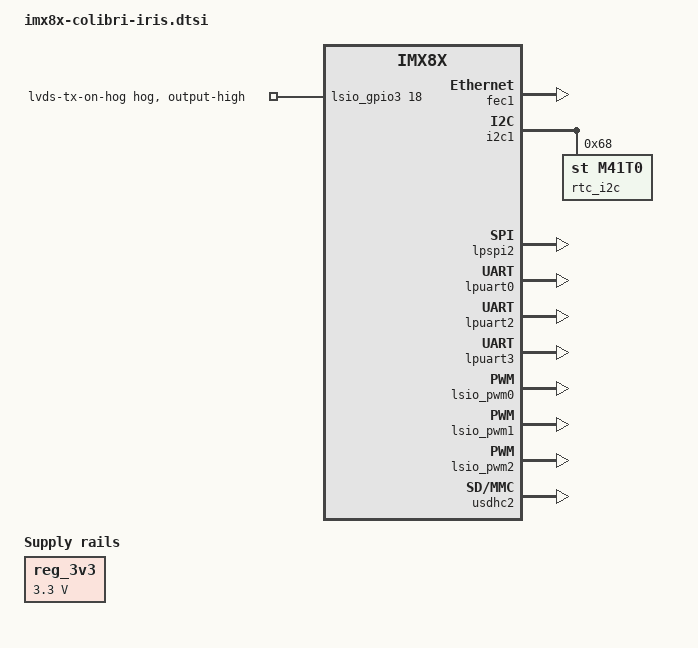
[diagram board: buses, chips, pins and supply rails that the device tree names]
// SPDX-License-Identifier: GPL-2.0-or-later OR MIT
/*
 * Copyright 2018-2021 Toradex
 */

/ {
	aliases {
		rtc0 = &rtc_i2c;
		rtc1 = &rtc;
	};

	reg_3v3: regulator-3v3 {
		compatible = "regulator-fixed";
		regulator-max-microvolt = <3300000>;
		regulator-min-microvolt = <3300000>;
		regulator-name = "3.3V";
	};
};

&colibri_gpio_keys {
	status = "okay";
};

/* Colibri FastEthernet */
&fec1 {
	status = "okay";
};

/* Colibri I2C */
&i2c1 {
	status = "okay";

	/* M41T0M6 real time clock on carrier board */
	rtc_i2c: rtc@68 {
		compatible = "st,m41t0";
		reg = <0x68>;
	};
};

&iomuxc {
	pinctrl-names = "default";
	pinctrl-0 = <&pinctrl_gpio_iris>;

	pinctrl_gpio_iris: gpioirisgrp {
		fsl,pins = <IMX8QXP_QSPI0B_DATA3_LSIO_GPIO3_IO21	0x20>,		/* SODIMM  98 */
			   <IMX8QXP_USB_SS3_TC1_LSIO_GPIO4_IO04		0x20>,		/* SODIMM 133 */
			   <IMX8QXP_SAI0_TXD_LSIO_GPIO0_IO25		0x20>,		/* SODIMM 103 */
			   <IMX8QXP_SAI0_TXFS_LSIO_GPIO0_IO28		0x20>,		/* SODIMM 101 */
			   <IMX8QXP_SAI0_RXD_LSIO_GPIO0_IO27		0x20>,		/* SODIMM  97 */
			   <IMX8QXP_ENET0_RGMII_RXC_LSIO_GPIO5_IO03	0x06000020>,	/* SODIMM  85 */
			   <IMX8QXP_SAI0_TXC_LSIO_GPIO0_IO26		0x20>;		/* SODIMM  79 */
	};

	pinctrl_uart1_forceoff: uart1forceoffgrp {
		fsl,pins = <IMX8QXP_QSPI0A_SS0_B_LSIO_GPIO3_IO14	0x20>;	/* SODIMM 22 */
	};

	pinctrl_uart23_forceoff: uart23forceoffgrp {
		fsl,pins = <IMX8QXP_MIPI_DSI1_GPIO0_01_LSIO_GPIO2_IO00	0x20>; /* SODIMM 23 */
	};
};

/* Colibri SPI */
&lpspi2 {
	status = "okay";
};

/* Colibri UART_B */
&lpuart0 {
	status = "okay";
};

/* Colibri UART_C */
&lpuart2 {
	status = "okay";
};

/* Colibri UART_A */
&lpuart3 {
	status= "okay";
};

&lsio_gpio3 {
	/*
	 * This turns the LVDS transceiver on. If one wants to turn the
	 * transceiver off, that property has to be deleted and the gpio handled
	 * in userspace.
	 */
	lvds-tx-on-hog {
		gpio-hog;
		gpios = <18 0>;
		output-high;
	};
};

/* Colibri PWM_B */
&lsio_pwm0 {
	status = "okay";
};

/* Colibri PWM_C */
&lsio_pwm1 {
	status = "okay";
};

/* Colibri PWM_D */
&lsio_pwm2 {
	status = "okay";
};

/* Colibri SD/MMC Card */
&usdhc2 {
	status = "okay";
};
